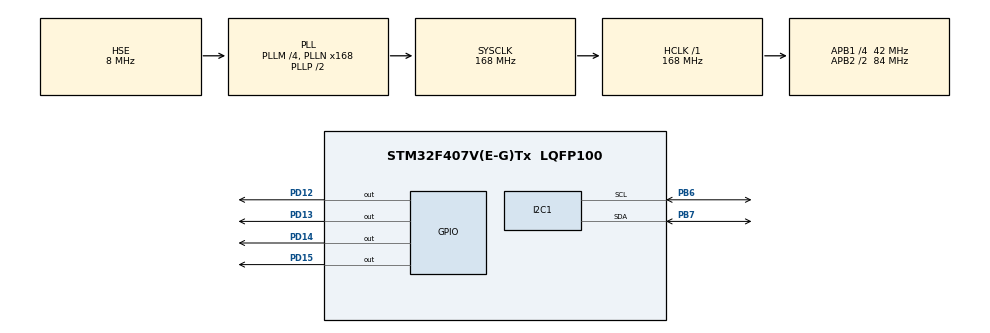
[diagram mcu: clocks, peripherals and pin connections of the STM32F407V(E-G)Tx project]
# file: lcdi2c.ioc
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Dma.I2C1_RX.0.Direction=DMA_PERIPH_TO_MEMORY
Dma.I2C1_RX.0.FIFOMode=DMA_FIFOMODE_DISABLE
Dma.I2C1_RX.0.Instance=DMA1_Stream0
Dma.I2C1_RX.0.MemDataAlignment=DMA_MDATAALIGN_BYTE
Dma.I2C1_RX.0.MemInc=DMA_MINC_ENABLE
Dma.I2C1_RX.0.Mode=DMA_NORMAL
Dma.I2C1_RX.0.PeriphDataAlignment=DMA_PDATAALIGN_BYTE
Dma.I2C1_RX.0.PeriphInc=DMA_PINC_DISABLE
Dma.I2C1_RX.0.Priority=DMA_PRIORITY_LOW
Dma.I2C1_TX.1.Direction=DMA_MEMORY_TO_PERIPH
Dma.I2C1_TX.1.FIFOMode=DMA_FIFOMODE_DISABLE
Dma.I2C1_TX.1.Instance=DMA1_Stream6
Dma.I2C1_TX.1.MemDataAlignment=DMA_MDATAALIGN_BYTE
Dma.I2C1_TX.1.MemInc=DMA_MINC_ENABLE
Dma.I2C1_TX.1.Mode=DMA_NORMAL
Dma.I2C1_TX.1.PeriphDataAlignment=DMA_PDATAALIGN_BYTE
Dma.I2C1_TX.1.PeriphInc=DMA_PINC_DISABLE
Dma.I2C1_TX.1.Priority=DMA_PRIORITY_LOW
Dma.Request0=I2C1_RX
Dma.Request1=I2C1_TX
FREERTOS.Tasks01=defaultTask,24,128,StartDefaultTask,Default,NULL,Dynamic,NULL,NULL
FREERTOS.configCHECK_FOR_STACK_OVERFLOW=2
FREERTOS.configENABLE_FPU=1
Mcu.Family=STM32F4
Mcu.Name=STM32F407V(E-G)Tx
Mcu.Package=LQFP100
NVIC.DMA1_Stream0_IRQn=true\:5\:0\:false\:false\:true\:true\:false\:true
NVIC.DMA1_Stream6_IRQn=true\:5\:0\:false\:false\:true\:true\:false\:true
NVIC.I2C1_ER_IRQn=true\:5\:0\:false\:false\:true\:true\:true\:true
NVIC.I2C1_EV_IRQn=true\:5\:0\:false\:false\:true\:true\:true\:true
NVIC.PriorityGroup=NVIC_PRIORITYGROUP_4
NVIC.TIM5_IRQn=true\:0\:0\:false\:false\:true\:false\:false\:true
NVIC.TimeBase=TIM5_IRQn
NVIC.TimeBaseIP=TIM5
PA13.Mode=Serial_Wire
PA13.Signal=SYS_JTMS-SWDIO
PA14.Mode=Serial_Wire
PA14.Signal=SYS_JTCK-SWCLK
PB6.Mode=I2C
PB6.Signal=I2C1_SCL
PB7.Mode=I2C
PB7.Signal=I2C1_SDA
PD12.Signal=GPIO_Output
PD13.Signal=GPIO_Output
PD14.Signal=GPIO_Output
PD15.Signal=GPIO_Output
PH0-OSC_IN.Mode=HSE-External-Oscillator
PH0-OSC_IN.Signal=RCC_OSC_IN
PH1-OSC_OUT.Mode=HSE-External-Oscillator
PH1-OSC_OUT.Signal=RCC_OSC_OUT
ProjectManager.HeapSize=0x200
ProjectManager.StackSize=0x400
ProjectManager.TargetToolchain=Makefile
RCC.48MHZClocksFreq_Value=84000000
RCC.AHBFreq_Value=168000000
RCC.APB1CLKDivider=RCC_HCLK_DIV4
RCC.APB1Freq_Value=42000000
RCC.APB1TimFreq_Value=84000000
RCC.APB2CLKDivider=RCC_HCLK_DIV2
RCC.APB2Freq_Value=84000000
RCC.APB2TimFreq_Value=168000000
RCC.CortexFreq_Value=168000000
RCC.HCLKFreq_Value=168000000
RCC.HSE_VALUE=8000000
RCC.HSI_VALUE=16000000
RCC.LSE_VALUE=32768
RCC.PLLM=4
RCC.PLLN=168
RCC.PLLSourceVirtual=RCC_PLLSOURCE_HSE
RCC.SYSCLKFreq_VALUE=168000000
RCC.SYSCLKSource=RCC_SYSCLKSOURCE_PLLCLK
RCC.VCOOutputFreq_Value=336000000
VP_FREERTOS_VS_CMSIS_V2.Mode=CMSIS_V2
VP_SYS_VS_tim5.Mode=TIM5
board=custom

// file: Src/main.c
/* USER CODE BEGIN Header */
/**
  ******************************************************************************
  * @file           : main.c
  * @brief          : Main program body
  ******************************************************************************
  * @attention
  *
  * <h2><center>&copy; Copyright (c) 2020 STMicroelectronics.
  * All rights reserved.</center></h2>
  *
  * This software component is licensed by ST under Ultimate Liberty license
  * SLA0044, the "License"; You may not use this file except in compliance with
  * the License. You may obtain a copy of the License at:
  *                             www.st.com/SLA0044
  *
  ******************************************************************************
  */
/* USER CODE END Header */

#include "main.h"
#include "cmsis_os.h"

/* USER CODE BEGIN Includes */
#include <stdio.h>
#include "LcdTask.h"
#include "lcd_hd44780_i2c.h"
#include "LcdmsgsTask.h"
#include "LcdmsgsetTask.h"
#include "morse.h"
#include "DTW_counter.h"
/* USER CODE END Includes */

I2C_HandleTypeDef hi2c1;
DMA_HandleTypeDef hdma_i2c1_rx;
DMA_HandleTypeDef hdma_i2c1_tx;

/* Definitions for defaultTask */
osThreadId_t defaultTaskHandle;
const osThreadAttr_t defaultTask_attributes = {
  .name = "defaultTask",
  .priority = (osPriority_t) osPriorityNormal,
  .stack_size = 384 * 4
};
/* USER CODE BEGIN PV */

uint32_t  loopct;

/* USER CODE END PV */

void SystemClock_Config(void);
static void MX_GPIO_Init(void);
static void MX_DMA_Init(void);
static void MX_I2C1_Init(void);
void StartDefaultTask(void *argument);

int main(void)
{

  /* MCU Configuration--------------------------------------------------------*/

  /* Reset of all peripherals, Initializes the Flash interface and the Systick. */
  HAL_Init();

  /* Configure the system clock */
  SystemClock_Config();

  /* Initialize all configured peripherals */
  MX_GPIO_Init();
  MX_DMA_Init();
  MX_I2C1_Init();
  /* USER CODE BEGIN 2 */
  DTW_counter_init();
  /* USER CODE END 2 */

  /* Init scheduler */
  osKernelInitialize();

  /* USER CODE BEGIN RTOS_TIMERS */
  /* start timers, add new ones, ... */
    /* Instantiate each LCD unit with I2C, address, row, column */

  /* USER CODE END RTOS_TIMERS */

  /* Create the thread(s) */
  /* creation of defaultTask */
  defaultTaskHandle = osThreadNew(StartDefaultTask, NULL, &defaultTask_attributes);

  /* USER CODE BEGIN RTOS_THREADS */
  /* add threads, ... */
  osThreadId retThrd =  xLcdTaskCreate(0, 16);
  if (retThrd == NULL) morse_trap(123);

  retThrd= xLcdmsgsTaskCreate(0, 32);
  if (retThrd == NULL) morse_trap(124);

  retThrd= xLcdmsgsetTaskCreate(0, 32);
  if (retThrd == NULL) morse_trap(125);

  /* USER CODE END RTOS_THREADS */

  /* Start scheduler */
  osKernelStart();

  /* We should never get here as control is now taken by the scheduler */
  /* Infinite loop */
  while (1)
  {

  }
}

void SystemClock_Config(void)
{
  RCC_OscInitTypeDef RCC_OscInitStruct = {0};
  RCC_ClkInitTypeDef RCC_ClkInitStruct = {0};

  /** Configure the main internal regulator output voltage
  */
  __HAL_RCC_PWR_CLK_ENABLE();
  __HAL_PWR_VOLTAGESCALING_CONFIG(PWR_REGULATOR_VOLTAGE_SCALE1);
  /** Initializes the CPU, AHB and APB busses clocks
  */
  RCC_OscInitStruct.OscillatorType = RCC_OSCILLATORTYPE_HSE;
  RCC_OscInitStruct.HSEState = RCC_HSE_ON;
  RCC_OscInitStruct.PLL.PLLState = RCC_PLL_ON;
  RCC_OscInitStruct.PLL.PLLSource = RCC_PLLSOURCE_HSE;
  RCC_OscInitStruct.PLL.PLLM = 4;
  RCC_OscInitStruct.PLL.PLLN = 168;
  RCC_OscInitStruct.PLL.PLLP = RCC_PLLP_DIV2;
  RCC_OscInitStruct.PLL.PLLQ = 4;
  if (HAL_RCC_OscConfig(&RCC_OscInitStruct) != HAL_OK)
  {
    Error_Handler();
  }
  /** Initializes the CPU, AHB and APB busses clocks
  */
  RCC_ClkInitStruct.ClockType = RCC_CLOCKTYPE_HCLK|RCC_CLOCKTYPE_SYSCLK
                              |RCC_CLOCKTYPE_PCLK1|RCC_CLOCKTYPE_PCLK2;
  RCC_ClkInitStruct.SYSCLKSource = RCC_SYSCLKSOURCE_PLLCLK;
  RCC_ClkInitStruct.AHBCLKDivider = RCC_SYSCLK_DIV1;
  RCC_ClkInitStruct.APB1CLKDivider = RCC_HCLK_DIV4;
  RCC_ClkInitStruct.APB2CLKDivider = RCC_HCLK_DIV2;

  if (HAL_RCC_ClockConfig(&RCC_ClkInitStruct, FLASH_LATENCY_5) != HAL_OK)
  {
    Error_Handler();
  }
}

static void MX_I2C1_Init(void)
{

  hi2c1.Instance = I2C1;
  hi2c1.Init.ClockSpeed = 100000;
  hi2c1.Init.DutyCycle = I2C_DUTYCYCLE_2;
  hi2c1.Init.OwnAddress1 = 0;
  hi2c1.Init.AddressingMode = I2C_ADDRESSINGMODE_7BIT;
  hi2c1.Init.DualAddressMode = I2C_DUALADDRESS_DISABLE;
  hi2c1.Init.OwnAddress2 = 0;
  hi2c1.Init.GeneralCallMode = I2C_GENERALCALL_DISABLE;
  hi2c1.Init.NoStretchMode = I2C_NOSTRETCH_DISABLE;
  if (HAL_I2C_Init(&hi2c1) != HAL_OK)
  {
    Error_Handler();
  }

}

static void MX_DMA_Init(void)
{

  /* DMA controller clock enable */
  __HAL_RCC_DMA1_CLK_ENABLE();

  /* DMA interrupt init */
  /* DMA1_Stream0_IRQn interrupt configuration */
  HAL_NVIC_SetPriority(DMA1_Stream0_IRQn, 5, 0);
  HAL_NVIC_EnableIRQ(DMA1_Stream0_IRQn);
  /* DMA1_Stream6_IRQn interrupt configuration */
  HAL_NVIC_SetPriority(DMA1_Stream6_IRQn, 5, 0);
  HAL_NVIC_EnableIRQ(DMA1_Stream6_IRQn);

}

static void MX_GPIO_Init(void)
{
  GPIO_InitTypeDef GPIO_InitStruct = {0};

  /* GPIO Ports Clock Enable */
  __HAL_RCC_GPIOH_CLK_ENABLE();
  __HAL_RCC_GPIOD_CLK_ENABLE();
  __HAL_RCC_GPIOA_CLK_ENABLE();
  __HAL_RCC_GPIOB_CLK_ENABLE();

  /*Configure GPIO pin Output Level */
  HAL_GPIO_WritePin(GPIOD, GPIO_PIN_12|GPIO_PIN_13|GPIO_PIN_14|GPIO_PIN_15, GPIO_PIN_RESET);

  /*Configure GPIO pins : PD12 PD13 PD14 PD15 */
  GPIO_InitStruct.Pin = GPIO_PIN_12|GPIO_PIN_13|GPIO_PIN_14|GPIO_PIN_15;
  GPIO_InitStruct.Mode = GPIO_MODE_OUTPUT_PP;
  GPIO_InitStruct.Pull = GPIO_NOPULL;
  GPIO_InitStruct.Speed = GPIO_SPEED_FREQ_LOW;
  HAL_GPIO_Init(GPIOD, &GPIO_InitStruct);

}

/* USER CODE BEGIN Header_StartDefaultTask */
/**
  * @brief  Function implementing the defaultTask thread.
  * @param  argument: Not used
  * @retval None
  */
static struct LCDTASK_LINEBUF* pu21main;
static void mainmsg1(union LCDSETVAR u ){
  lcdi2cprintf(&pu21main,0,0, "MAIN: %0.2f",u.f);
}
/* USER CODE END Header_StartDefaultTask */
void StartDefaultTask(void *argument)
{
  /* USER CODE BEGIN 5 */
  struct LCDMSGSET lmsmain;

  struct LCDMSGTASK_MSGREQ lcd4x20_msg0;
    lcd4x20_msg0.msgnum = 0; // Message number
    lcd4x20_msg0.row    = 0; // Line #1
    lcd4x20_msg0.col    = 0; // Begin column

 struct LCDMSGTASK_MSGREQ lcd4x20_msg1;
    lcd4x20_msg1.msgnum = 1; // Message number
    lcd4x20_msg1.row    = 1; // Line #2
    lcd4x20_msg1.col    = 0; // Begin column

 struct LCDMSGTASK_MSGREQ lcd4x20_msg2;
    lcd4x20_msg2.msgnum = 2; // Message number
    lcd4x20_msg2.row    = 3; // Line #4
    lcd4x20_msg2.col    = 0; // Begin column

    /* Wait for Tasks to initialize units. */
    while(LcdTaskflag == 0) osDelay(10);
    while(LcdmsgsTaskflag == 0) osDelay(10);

    /* Get a buffer for sending messages via LcdmsgsetTask. */
    pu21main = xLcdTaskintgetbuf(punitd2x16,16);
    lmsmain.u.f = 3.14f; // Initial value for testing

    TickType_t xLastWakeTime = xTaskGetTickCount();

    for (;;) {

		HAL_GPIO_TogglePin(GPIOD,GPIO_PIN_15); // BLUE LED

    vTaskDelayUntil( &xLastWakeTime, pdMS_TO_TICKS(1000) );

    loopct += 1; // Counter for display test purposes
    lcd4x20_msg0.var.f = loopct * 0.1;

    // Send three msgs to 4x20 LCD using LcdmsgsTask
    xQueueSendToBack(LcdmsgsTaskQHandle, &lcd4x20_msg0, 0);
    xQueueSendToBack(LcdmsgsTaskQHandle, &lcd4x20_msg1, 0);
    xQueueSendToBack(LcdmsgsTaskQHandle, &lcd4x20_msg2, 0);

    // Send mainmsg1 (above) via alternate route to 2x16 LCD
    // using LcdmsgsetTask
    lmsmain.u.f += .01;
    lmsmain.ptr = mainmsg1;

    if (LcdmsgsetTaskQHandle != NULL)
      xQueueSendToBack(LcdmsgsetTaskQHandle, &lmsmain, 0);
    }
  /* USER CODE END 5 */
}

 /**
  * @brief  Period elapsed callback in non blocking mode
  * @note   This function is called  when TIM5 interrupt took place, inside
  * HAL_TIM_IRQHandler(). It makes a direct call to HAL_IncTick() to increment
  * a global variable "uwTick" used as application time base.
  * @param  htim : TIM handle
  * @retval None
  */
void HAL_TIM_PeriodElapsedCallback(TIM_HandleTypeDef *htim)
{
  if (htim->Instance == TIM5) {
    HAL_IncTick();
  }
}

void Error_Handler(void)
{
  /* USER CODE BEGIN Error_Handler_Debug */
  /* User can add his own implementation to report the HAL error return state */
  morse_trap(15);
  /* USER CODE END Error_Handler_Debug */
}

#ifdef  USE_FULL_ASSERT
/**
  * @brief  Reports the name of the source file and the source line number
  *         where the assert_param error has occurred.
  * @param  file: pointer to the source file name
  * @param  line: assert_param error line source number
  * @retval None
  */
void assert_failed(uint8_t *file, uint32_t line)
{
  /* USER CODE BEGIN 6 */
  /* User can add his own implementation to report the file name and line number,
     tex: printf("Wrong parameters value: file %s on line %d\r\n", file, line) */
  morse_trap(16);
  /* USER CODE END 6 */
}
#endif /* USE_FULL_ASSERT */

/************************ (C) COPYRIGHT STMicroelectronics *****END OF FILE****/
